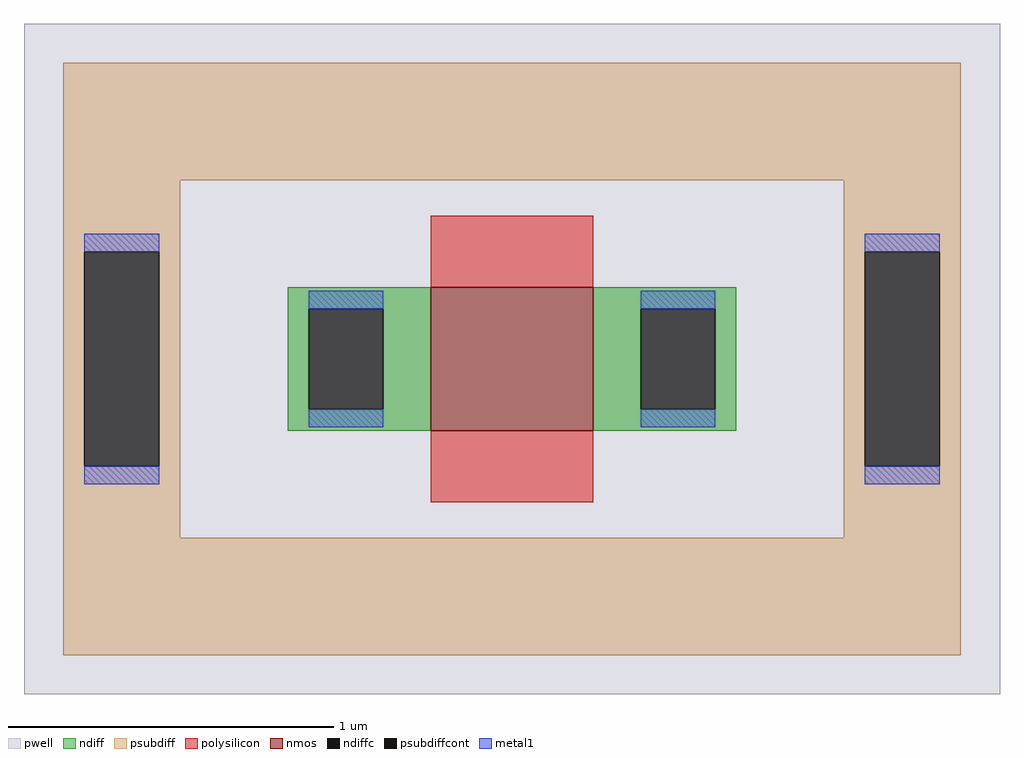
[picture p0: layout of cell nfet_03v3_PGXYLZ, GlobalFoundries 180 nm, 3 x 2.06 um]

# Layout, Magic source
magic
tech gf180mcuD
magscale 1 10
<< pwell >>
rect -300 -206 300 206
<< nmos >>
rect -50 -44 50 44
<< ndiff >>
rect -138 31 -50 44
rect -138 -31 -125 31
rect -79 -31 -50 31
rect -138 -44 -50 -31
rect 50 31 138 44
rect 50 -31 79 31
rect 125 -31 138 31
rect 50 -44 138 -31
<< ndiffc >>
rect -125 -31 -79 31
rect 79 -31 125 31
<< psubdiff >>
rect -276 110 276 182
rect -276 66 -204 110
rect -276 -66 -263 66
rect -217 -66 -204 66
rect 204 66 276 110
rect -276 -110 -204 -66
rect 204 -66 217 66
rect 263 -66 276 66
rect 204 -110 276 -66
rect -276 -182 276 -110
<< psubdiffcont >>
rect -263 -66 -217 66
rect 217 -66 263 66
<< polysilicon >>
rect -50 44 50 88
rect -50 -88 50 -44
<< metal1 >>
rect -263 66 -217 77
rect 217 66 263 77
rect -125 31 -79 42
rect -125 -42 -79 -31
rect 79 31 125 42
rect 79 -42 125 -31
rect -263 -77 -217 -66
rect 217 -77 263 -66
<< properties >>
string FIXED_BBOX -240 -146 240 146
string gencell nfet_03v3
string library gf180mcu
string parameters w 0.44 l 0.5 m 1 nf 1 diffcov 100 polycov 100 guard 1 glc 1 grc 1 gtc 0 gbc 0 tbcov 100 rlcov 100 topc 0 botc 0 poverlap 0 doverlap 1 lmin 0.28 wmin 0.22 class mosfet full_metal 0 compatible {nfet_03v3 nfet_06v0 nfet_06v0_nvt}
<< end >>
